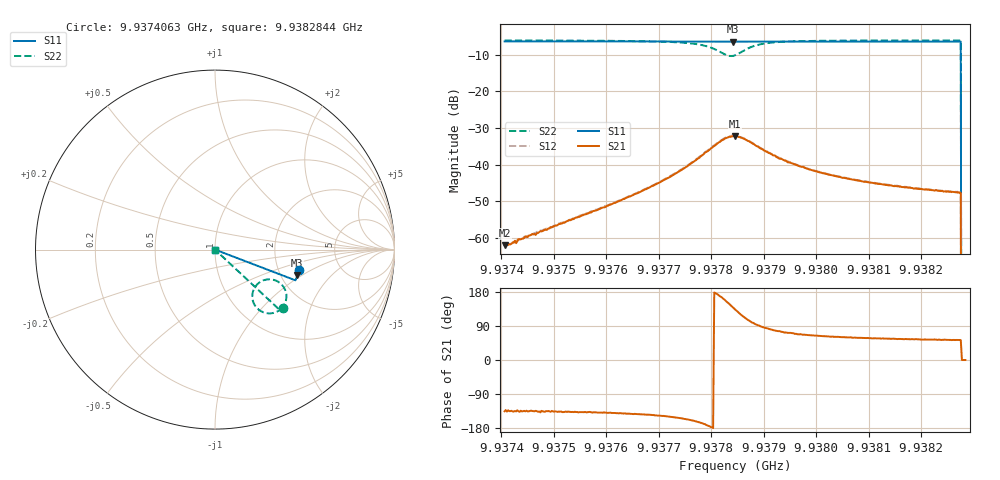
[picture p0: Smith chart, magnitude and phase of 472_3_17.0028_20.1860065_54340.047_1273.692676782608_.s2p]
#  HZ  S  RI  R  50.00
! Rohde & Schwarz Vector Network Analyzer
! Rohde-Schwarz,ZNB20-2Port,1311601062101988,3.16
! Created: UTC 3/20/2024, 11:13:13 PM
! freq[Hz]  re:S11  im:S11  re:S21  im:S21  re:S12  im:S12  re:S22  im:S22
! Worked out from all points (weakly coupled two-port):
!   401 points, 9.9374063 GHz to 9.9382844 GHz, reference 50 ohm
!   highest |S21| = -32.21 dB at 9.9378454 GHz (marker M1); lowest = -62.1 dB at 9.9374063 GHz (marker M2)
!   lowest |S11| = -6.4 dB at 9.937841 GHz (marker M3), VSWR 2.83, Z = 122 - j45.1 ohm
!   |S11| at or under -10 dB: 9.9382757 GHz to end of sweep
!   |S22| runs from - to -6.1 dB; largest |S21 - S12| = 0.001
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9.9374063e9  0.4692 -0.1154  -0.000558 -0.000552  -0.000549 -0.000536  0.3771 -0.3241
9.93741508e9  0.4689 -0.1161  -0.000577 -0.000577  -0.000581 -0.000574  0.3761 -0.3246
9.93745021e9  0.4682 -0.1185  -0.000732 -0.000712  -0.000787 -0.00071  0.3733 -0.3272
9.93755339e9  0.4659 -0.1254  -0.00148 -0.00137  -0.00152 -0.00132  0.3616 -0.3363
9.93765218e9  0.4635 -0.132  -0.00307 -0.00233  -0.00315 -0.00236  0.3431 -0.3467
9.93770048e9  0.4622 -0.1354  -0.00472 -0.00311  -0.00485 -0.00311  0.3267 -0.3524
9.93775097e9  0.4607 -0.1388  -0.00837 -0.00376  -0.00855 -0.00369  0.2944 -0.3552
9.93779049e9  0.4589 -0.1413  -0.0147 -0.0022  -0.015 -0.00207  0.245 -0.3361
9.93782122e9  0.4571 -0.1424  -0.0208 0.00593  -0.0209 0.00677  0.2078 -0.2619
9.9378322e9  0.4569 -0.1426  -0.0206 0.0115  -0.0207 0.0124  0.2171 -0.2192
9.93784098e9  0.4566 -0.1424  -0.0186 0.0158  -0.0182 0.0168  0.2404 -0.1887
9.93784537e9  0.4569 -0.1425  -0.0169 0.0178  -0.0164 0.0184  0.2561 -0.1777
9.93785635e9  0.4571 -0.1429  -0.0117 0.0203  -0.0113 0.0209  0.2997 -0.1655
9.93787172e9  0.4575 -0.1436  -0.00524 0.0202  -0.00464 0.0205  0.3495 -0.1778
9.93789806e9  0.4577 -0.1459  0.000939 0.0161  0.00115 0.0163  0.3888 -0.2198
9.93794417e9  0.457 -0.1493  0.0034 0.0105  0.00355 0.0105  0.3977 -0.2689
9.93799246e9  0.4558 -0.1527  0.00353 0.00757  0.00371 0.00761  0.3922 -0.2941
9.93805174e9  0.4543 -0.1567  0.00326 0.00572  0.00339 0.00574  0.3846 -0.3109
9.93813955e9  0.4518 -0.1624  0.00288 0.00433  0.00302 0.00433  0.3753 -0.3253
9.93827128e9  0.4482 -0.1709  0.0025 0.00332  0.00261 0.00329  0.3641 -0.3387
9.93828225e9  0 0  0 0  0 0  0 0
9.93828445e9  0 0  0 0  0 0  0 0
